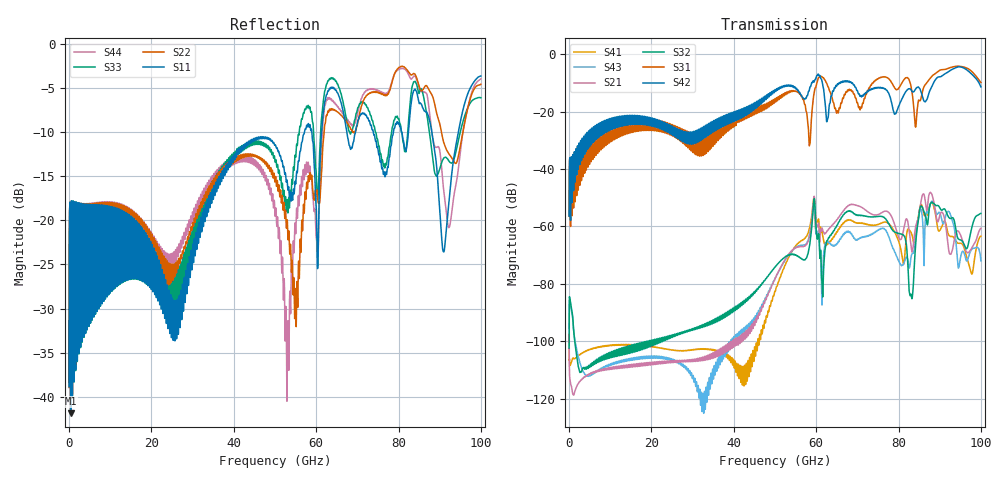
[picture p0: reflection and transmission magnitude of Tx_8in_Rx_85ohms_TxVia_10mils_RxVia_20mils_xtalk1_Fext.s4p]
! Info: Touchstone file created by Circ.  Input file=Tx_8in_Rx_85ohms_TxVia_10mils_RxVia_20mils.circ
# Hz S RI R 50
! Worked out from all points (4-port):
!   10000 points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, 10 MHz to 100 GHz, reference 50 ohm
!   strongest paths, dB at 10 MHz, 25.01 GHz, 50.01 GHz, 75.01 GHz, 100 GHz:
!     S42: -56.4, -25.2, -12.4, -11.8, -11.5
!     S31: -56.5, -24.6, -15.5, -8.7, -9.9
!     S32: -102.3, -98.7, -74.2, -56.5, -55.5
!     S21: -98.4, -107.4, -78.1, -55.9, -60.6
!     S43: -95.5, -106.8, -78.0, -61.4, -71.9
!     S41: -97.6, -103.0, -82.5, -59.3, -63.4
!   lowest |S11| = -41.9 dB at 390 MHz (marker M1), VSWR 1.02, Z = 49.3 + j0.461 ohm
!   |S11| at or under -10 dB: start of sweep to 57.15 GHz; 73.86 GHz to 78.75 GHz (4.894 GHz wide, 6.41 % of centre); 88.09 GHz to 94.52 GHz (6.433 GHz wide, 7.05 % of centre) (the widest 3 of 6)
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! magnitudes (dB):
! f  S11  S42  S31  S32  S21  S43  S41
! 10 MHz  -38.9  -56.4  -56.5  -102.3  -98.4  -95.5  -97.6
! 390 MHz  -41.9  -46.8  -46.9  -86.8  -114.9  -87.7  -107.9
! 50.21 GHz  -11.6  -13.0  -16.6  -73.8  -77.7  -77.7  -81.8
! 59.43 GHz  -12.9  -9.8  -14.2  -51.0  -50.0  -50.9  -49.8
! 83.12 GHz  -6.5  -12.6  -11.9  -84.2  -67.5  -70.1  -62.4
! 85.49 GHz  -6.8  -13.2  -15.1  -52.9  -51.1  -54.1  -52.4
! 100 GHz  -3.6  -11.5  -9.9  -55.5  -60.6  -71.9  -63.4
